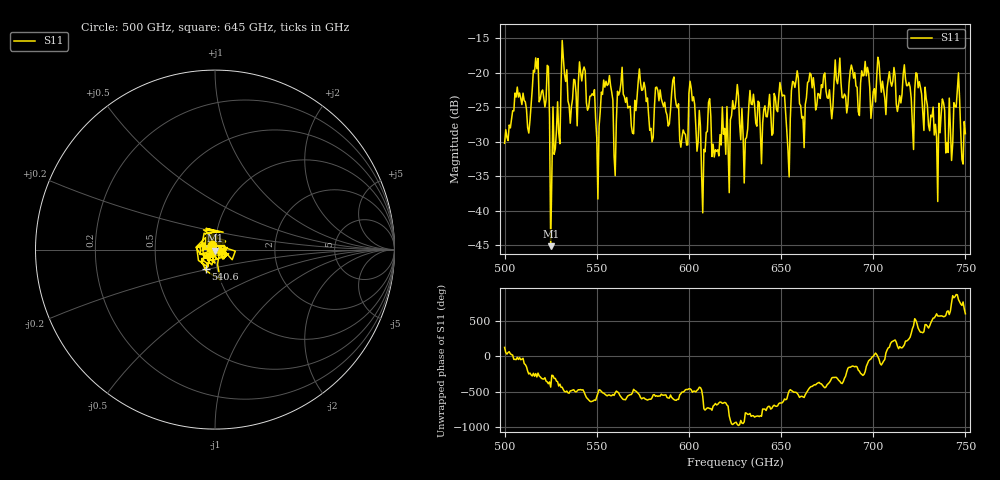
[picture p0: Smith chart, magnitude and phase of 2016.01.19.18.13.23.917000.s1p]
!Created with skrf (http://scikit-rf.org).
# GHz S RI R 50.0
!freq ReS11 ImS11
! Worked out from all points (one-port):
!   401 points, 500 GHz to 750 GHz, reference 50 ohm
!   lowest |S11| = -45.1 dB at 525 GHz (marker M1), VSWR 1.01, Z = 50.1 - j0.543 ohm
!   |S11| at or under -10 dB: start of sweep to end of sweep
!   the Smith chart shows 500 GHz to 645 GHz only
!   S11 on the Smith chart (normalised r, x): 500 GHz: 0.97, +0.05; 540.6 GHz: 0.88, -0.19; 645 GHz: 1.07, -0.02
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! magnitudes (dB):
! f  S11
! 500 GHz  -30.2
! 506.9 GHz  -22.1
! 513.1 GHz  -28.7
! 516.9 GHz  -17.8
! 525 GHz  -45.1
! 526.2 GHz  -24.9
! 531.2 GHz  -15.3
! 540.6 GHz  -18.4
! 550.6 GHz  -38.3
! 553.8 GHz  -21.0
! 559.4 GHz  -32.0
! 562.5 GHz  -22.7
! 593.8 GHz  -25.0
! 598.1 GHz  -28.9
! 601.9 GHz  -24.1
! 608.1 GHz  -31.1
! 610.6 GHz  -24.3
! 615 GHz  -31.4
! 625 GHz  -25.1
! 630.6 GHz  -29.6
! 633.8 GHz  -24.5
! 645 GHz  -29.0
! 650.6 GHz  -23.4
! 653.8 GHz  -31.2
! 656.2 GHz  -21.2
! 687.5 GHz  -19.8
! 718.8 GHz  -21.8
! 750 GHz  -28.8
